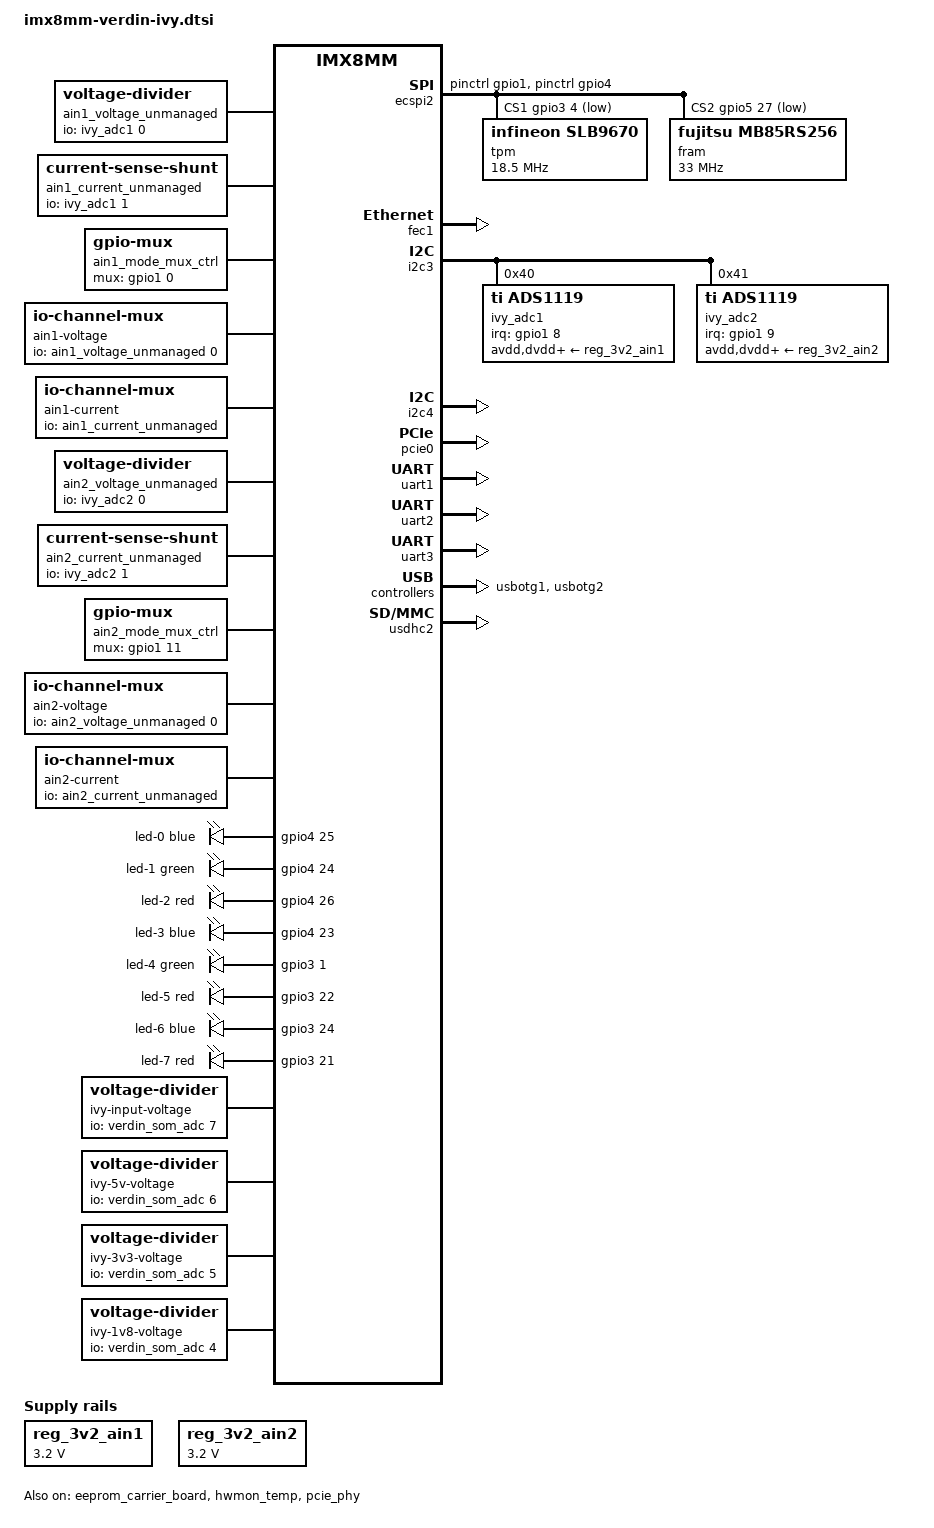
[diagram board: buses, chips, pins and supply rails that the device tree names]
// SPDX-License-Identifier: GPL-2.0-or-later OR MIT
/*
 * Copyright 2024 Toradex
 *
 * Common dtsi for Verdin IMX8MM SoM on Ivy carrier board
 *
 * https://www.toradex.com/computer-on-modules/verdin-arm-family/nxp-imx-8m-mini-nano
 * https://www.toradex.com/products/carrier-board/ivy-carrier-board
 */

#include <dt-bindings/mux/mux.h>
#include <dt-bindings/leds/common.h>

/ {
	/* AIN1 Voltage w/o AIN1_MODE gpio control */
	ain1_voltage_unmanaged: voltage-divider-ain1 {
		compatible = "voltage-divider";
		#io-channel-cells = <1>;
		io-channels = <&ivy_adc1 0>;
		full-ohms = <19>;
		output-ohms = <1>;
	};

	/* AIN1 Current w/o AIN1_MODE gpio control */
	ain1_current_unmanaged: current-sense-shunt-ain1 {
		compatible = "current-sense-shunt";
		#io-channel-cells = <0>;
		io-channels = <&ivy_adc1 1>;
		shunt-resistor-micro-ohms = <100000000>;
	};

	/* AIN1_MODE - SODIMM 216 */
	ain1_mode_mux_ctrl: mux-controller-0 {
		compatible = "gpio-mux";
		pinctrl-names = "default";
		pinctrl-0 = <&pinctrl_gpio5>;
		#mux-control-cells = <0>;
		mux-gpios = <&gpio1 0 GPIO_ACTIVE_HIGH>;
	};

	ain1-voltage {
		compatible = "io-channel-mux";
		channels = "ain1_voltage", "";
		io-channels = <&ain1_voltage_unmanaged 0>;
		io-channel-names = "parent";
		mux-controls = <&ain1_mode_mux_ctrl>;
		settle-time-us = <1000>;
	};

	ain1-current {
		compatible = "io-channel-mux";
		channels = "", "ain1_current";
		io-channels = <&ain1_current_unmanaged>;
		io-channel-names = "parent";
		mux-controls = <&ain1_mode_mux_ctrl>;
		settle-time-us = <1000>;
	};

	/* AIN2 Voltage w/o AIN2_MODE gpio control */
	ain2_voltage_unmanaged: voltage-divider-ain2 {
		compatible = "voltage-divider";
		#io-channel-cells = <1>;
		io-channels = <&ivy_adc2 0>;
		full-ohms = <19>;
		output-ohms = <1>;
	};

	/* AIN2 Current w/o AIN2_MODE gpio control */
	ain2_current_unmanaged: current-sense-shunt-ain2 {
		compatible = "current-sense-shunt";
		#io-channel-cells = <0>;
		io-channels = <&ivy_adc2 1>;
		shunt-resistor-micro-ohms = <100000000>;
	};

	/* AIN2_MODE - SODIMM 218 */
	ain2_mode_mux_ctrl: mux-controller-1 {
		compatible = "gpio-mux";
		pinctrl-names = "default";
		pinctrl-0 = <&pinctrl_gpio6>;
		#mux-control-cells = <0>;
		mux-gpios = <&gpio1 11 GPIO_ACTIVE_HIGH>;
	};

	ain2-voltage {
		compatible = "io-channel-mux";
		channels = "ain2_voltage", "";
		io-channels = <&ain2_voltage_unmanaged 0>;
		io-channel-names = "parent";
		mux-controls = <&ain2_mode_mux_ctrl>;
		settle-time-us = <1000>;
	};

	ain2-current {
		compatible = "io-channel-mux";
		channels = "", "ain2_current";
		io-channels = <&ain2_current_unmanaged>;
		io-channel-names = "parent";
		mux-controls = <&ain2_mode_mux_ctrl>;
		settle-time-us = <1000>;
	};

	leds {
		compatible = "gpio-leds";
		pinctrl-names = "default";
		pinctrl-0 = <&pinctrl_ivy_leds>;

		/* D7 Blue - SODIMM 30 - LEDs.GPIO1 */
		led-0 {
			color = <LED_COLOR_ID_BLUE>;
			default-state = "off";
			function = LED_FUNCTION_STATUS;
			function-enumerator = <1>;
			gpios = <&gpio4 25 GPIO_ACTIVE_HIGH>;
		};

		/* D7 Green - SODIMM 32 - LEDs.GPIO2 */
		led-1 {
			color = <LED_COLOR_ID_GREEN>;
			default-state = "off";
			function = LED_FUNCTION_STATUS;
			function-enumerator = <1>;
			gpios = <&gpio4 24 GPIO_ACTIVE_HIGH>;
		};

		/* D7 Red - SODIMM 34 - LEDs.GPIO3 */
		led-2 {
			color = <LED_COLOR_ID_RED>;
			default-state = "off";
			function = LED_FUNCTION_STATUS;
			function-enumerator = <1>;
			gpios = <&gpio4 26 GPIO_ACTIVE_HIGH>;
		};

		/* D8 Blue - SODIMM 36 - LEDs.GPIO4 */
		led-3 {
			color = <LED_COLOR_ID_BLUE>;
			default-state = "off";
			function = LED_FUNCTION_STATUS;
			function-enumerator = <2>;
			gpios = <&gpio4 23 GPIO_ACTIVE_HIGH>;
		};

		/* D8 Green - SODIMM 54 - LEDs.GPIO5 */
		led-4 {
			color = <LED_COLOR_ID_GREEN>;
			default-state = "off";
			function = LED_FUNCTION_STATUS;
			function-enumerator = <2>;
			gpios = <&gpio3 1 GPIO_ACTIVE_HIGH>;
		};

		/* D8 Red - SODIMM 44 - LEDs.GPIO6 */
		led-5 {
			color = <LED_COLOR_ID_RED>;
			default-state = "off";
			function = LED_FUNCTION_STATUS;
			function-enumerator = <2>;
			gpios = <&gpio3 22 GPIO_ACTIVE_HIGH>;
		};

		/* D9 Blue - SODIMM 46 - LEDs.GPIO7 */
		led-6 {
			color = <LED_COLOR_ID_BLUE>;
			default-state = "off";
			function = LED_FUNCTION_STATUS;
			function-enumerator = <3>;
			gpios = <&gpio3 24 GPIO_ACTIVE_HIGH>;
		};

		/* D9 Red - SODIMM 48 - LEDs.GPIO8 */
		led-7 {
			color = <LED_COLOR_ID_RED>;
			default-state = "off";
			function = LED_FUNCTION_STATUS;
			function-enumerator = <3>;
			gpios = <&gpio3 21 GPIO_ACTIVE_HIGH>;
		};
	};

	reg_3v2_ain1: regulator-3v2-ain1 {
		compatible = "regulator-fixed";
		regulator-max-microvolt = <3200000>;
		regulator-min-microvolt = <3200000>;
		regulator-name = "+3V2_AIN1";
	};

	reg_3v2_ain2: regulator-3v2-ain2 {
		compatible = "regulator-fixed";
		regulator-max-microvolt = <3200000>;
		regulator-min-microvolt = <3200000>;
		regulator-name = "+3V2_AIN2";
	};

	/* Ivy Power Supply Input Voltage */
	ivy-input-voltage {
		compatible = "voltage-divider";
		/* Verdin ADC_1 */
		io-channels = <&verdin_som_adc 7>;
		full-ohms = <204700>; /* 200k + 4.7k */
		output-ohms = <4700>;
	};

	ivy-5v-voltage {
		compatible = "voltage-divider";
		/* Verdin ADC_2 */
		io-channels = <&verdin_som_adc 6>;
		full-ohms = <39000>; /* 27k + 12k */
		output-ohms = <12000>;
	};

	ivy-3v3-voltage {
		compatible = "voltage-divider";
		/* Verdin ADC_3 */
		io-channels = <&verdin_som_adc 5>;
		full-ohms = <54000>; /* 27k + 27k */
		output-ohms = <27000>;
	};

	ivy-1v8-voltage {
		compatible = "voltage-divider";
		/* Verdin ADC_4 */
		io-channels = <&verdin_som_adc 4>;
		full-ohms = <39000>; /* 12k + 27k */
		output-ohms = <27000>;
	};
};

/* Verdin SPI_1 */
&ecspi2 {
	pinctrl-0 = <&pinctrl_ecspi2>,
		    <&pinctrl_gpio1>,
		    <&pinctrl_gpio4>;
	cs-gpios = <&gpio5 13 GPIO_ACTIVE_LOW>,
		   <&gpio3 4 GPIO_ACTIVE_LOW>,
		   <&gpio5 27 GPIO_ACTIVE_LOW>;
	status = "okay";

	tpm@1 {
		compatible = "infineon,slb9670", "tcg,tpm_tis-spi";
		reg = <1>;
		spi-max-frequency = <18500000>;
	};

	fram@2 {
		compatible = "fujitsu,mb85rs256", "atmel,at25";
		reg = <2>;
		address-width = <16>;
		size = <32768>;
		spi-max-frequency = <33000000>;
		pagesize = <1>;
	};
};

/* EEPROM on Ivy */
&eeprom_carrier_board {
	status = "okay";
};

/* Verdin ETH_1 */
&fec1 {
	status = "okay";
};

&gpio3 {
	gpio-line-names =
		"", /* 0 */
		"",
		"REL3", /* SODIMM 64 */
		"",
		"",
		"",
		"DIG_1", /* SODIMM 56 */
		"DIG_2", /* SODIMM 58 */
		"REL1",  /* SODIMM 60 */
		"REL2",  /* SODIMM 62 */
		"", /* 10 */
		"",
		"",
		"",
		"REL4",  /* SODIMM 66 */
		"",
		"",
		"",
		"",
		"",
		"", /* 20 */
		"",
		"",
		"",
		"",
		"";
};

&gpio5 {
	gpio-line-names =
		"", /* 0 */
		"",
		"",
		"",
		"",
		"GPIO2", /* Verdin GPIO_2 - SODIMM 208 */
		"",
		"",
		"",
		"",
		"", /* 10 */
		"",
		"",
		"",
		"",
		"",
		"",
		"",
		"",
		"",
		"", /* 20 */
		"",
		"",
		"",
		"",
		"",
		"GPIO3", /* Verdin GPIO_3 - SODIMM 210 */
		"",
		"",
		"";
};

/* Temperature sensor on Ivy */
&hwmon_temp {
	compatible = "ti,tmp1075";
	status = "okay";
};

/* Verdin I2C_4 CSI */
&i2c3 {
	status = "okay";

	ivy_adc1: adc@40 {
		compatible = "ti,ads1119";
		reg = <0x40>;
		pinctrl-names = "default";
		pinctrl-0 = <&pinctrl_gpio7>;
		interrupt-parent = <&gpio1>;
		interrupts = <8 IRQ_TYPE_EDGE_FALLING>;
		avdd-supply = <&reg_3v2_ain1>;
		dvdd-supply = <&reg_3v2_ain1>;
		vref-supply = <&reg_3v2_ain1>;
		#address-cells = <1>;
		#io-channel-cells = <1>;
		#size-cells = <0>;

		/* AIN1 0-33V Voltage Input */
		channel@0 {
			reg = <0>;
			diff-channels = <0 1>;
		};

		/* AIN1 0-20mA Current Input */
		channel@1 {
			reg = <1>;
			diff-channels = <2 3>;
		};
	};

	ivy_adc2: adc@41 {
		compatible = "ti,ads1119";
		reg = <0x41>;
		pinctrl-names = "default";
		pinctrl-0 = <&pinctrl_gpio8>;
		interrupt-parent = <&gpio1>;
		interrupts = <9 IRQ_TYPE_EDGE_FALLING>;
		avdd-supply = <&reg_3v2_ain2>;
		dvdd-supply = <&reg_3v2_ain2>;
		vref-supply = <&reg_3v2_ain2>;
		#address-cells = <1>;
		#io-channel-cells = <1>;
		#size-cells = <0>;

		/* AIN2 0-33V Voltage Input */
		channel@0 {
			reg = <0>;
			diff-channels = <0 1>;
		};

		/* AIN2 0-20mA Current Input */
		channel@1 {
			reg = <1>;
			diff-channels = <2 3>;
		};
	};
};

/* Verdin I2C_1 */
&i2c4 {
	status = "okay";
};

/* Verdin PCIE_1 */
&pcie0 {
	status = "okay";
};

&pcie_phy {
	status = "okay";
};

/* Verdin UART_3 */
&uart1 {
	status = "okay";
};

/* Verdin UART_1 */
&uart2 {
	status = "okay";
};

/* Verdin UART_2 */
&uart3 {
	linux,rs485-enabled-at-boot-time;
	rs485-rx-during-tx;
	status = "okay";
};

/* Verdin USB_1*/
&usbotg1 {
	status = "okay";
};

/* Verdin USB_2 */
&usbotg2 {
	status = "okay";
};

/* Verdin SD_1 */
&usdhc2 {
	status = "okay";
};

&iomuxc {

	pinctrl-names = "default";
	pinctrl-0 = <&pinctrl_gpio2>, <&pinctrl_gpio3>,
		    <&pinctrl_ivy_dig_inputs>, <&pinctrl_ivy_relays>;

	pinctrl_ivy_dig_inputs: ivydiginputsgrp {
		fsl,pins =
			<MX8MM_IOMUXC_NAND_DATA00_GPIO3_IO6	0x96>, /* SODIMM 56 */
			<MX8MM_IOMUXC_NAND_DATA01_GPIO3_IO7	0x96>; /* SODIMM 58 */
	};

	pinctrl_ivy_leds: ivyledsgrp {
		fsl,pins =
			<MX8MM_IOMUXC_SAI2_TXC_GPIO4_IO25	0x16>, /* SODIMM 30 */
			<MX8MM_IOMUXC_SAI2_TXFS_GPIO4_IO24	0x16>, /* SODIMM 32 */
			<MX8MM_IOMUXC_SAI2_TXD0_GPIO4_IO26	0x16>, /* SODIMM 34 */
			<MX8MM_IOMUXC_SAI2_RXD0_GPIO4_IO23	0x16>, /* SODIMM 36 */
			<MX8MM_IOMUXC_SAI5_RXD1_GPIO3_IO22	0x16>, /* SODIMM 44 */
			<MX8MM_IOMUXC_SAI5_RXD3_GPIO3_IO24	0x16>, /* SODIMM 46 */
			<MX8MM_IOMUXC_SAI5_RXD0_GPIO3_IO21	0x16>, /* SODIMM 48 */
			<MX8MM_IOMUXC_NAND_CE0_B_GPIO3_IO1	0x16>; /* SODIMM 54 */
	};

	pinctrl_ivy_relays: ivyrelaysgrp {
		fsl,pins =
			<MX8MM_IOMUXC_NAND_DATA02_GPIO3_IO8	0x16>, /* SODIMM 60 */
			<MX8MM_IOMUXC_NAND_DATA03_GPIO3_IO9	0x16>, /* SODIMM 62 */
			<MX8MM_IOMUXC_NAND_CE1_B_GPIO3_IO2	0x16>, /* SODIMM 64 */
			<MX8MM_IOMUXC_NAND_DQS_GPIO3_IO14	0x16>; /* SODIMM 66 */
	};
};
